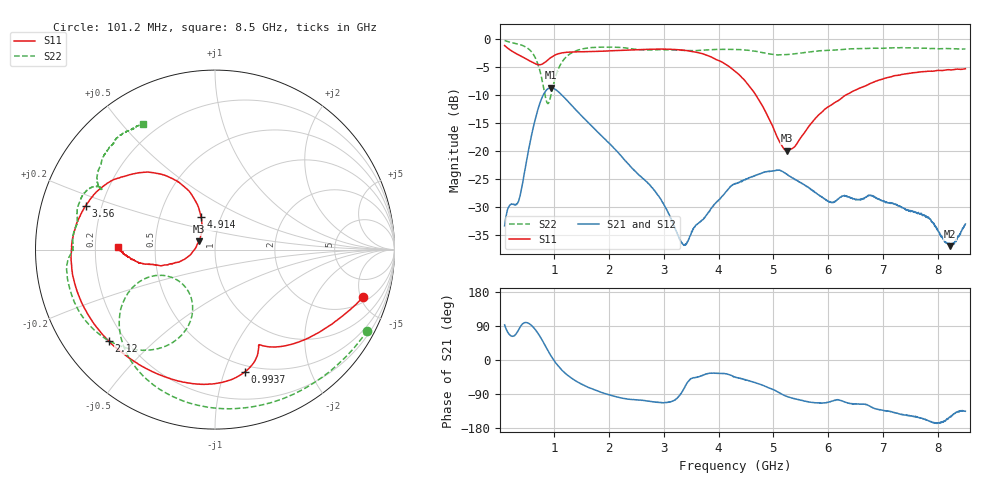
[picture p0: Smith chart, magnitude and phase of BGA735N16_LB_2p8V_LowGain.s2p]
! S-Parameter file
! MATLAB S2P writer
! (c) DICE Linz
! Infineon Technologies
! Date: 09.09.2009 10:39
!BGA735N16
!2.80V; 0.00V;
!25.00 deg
# MHZ S MA R 50
!  S11  S21  S12  S22
!  f  mag  angle  mag  angle  mag  angle  mag  angle
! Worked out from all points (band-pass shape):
!   1582 points, 101.2 MHz to 8.5 GHz, reference 50 ohm
!   highest |S21| = -8.76 dB at 945.9 MHz (marker M1); lowest = -37.0 dB at 8.213 GHz (marker M2)
!   |S21| within 3 dB of the highest: 735.8 MHz to 1.311 GHz (575 MHz wide, 56.2 % of centre)
!   lowest |S11| = -20.0 dB at 5.254 GHz (marker M3), VSWR 1.22, Z = 41.7 + j3.94 ohm
!   |S11| at or under -10 dB: 4.676 GHz to 6.331 GHz (1.655 GHz wide, 30.1 % of centre)
!   |S22| runs from -11.6 to -0.3 dB; largest |S21 - S12| = 0.0026
!   S11 on the Smith chart (normalised r, x): 101.2 MHz: 2.46, -5.23; 993.7 MHz: 0.44, -1.17; 2.12 GHz: 0.14, -0.37; 3.56 GHz: 0.14, +0.16; 4.914 GHz: 0.81, +0.30; 8.5 GHz: 0.30, +0.01
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101.2339  0.866 -17.9  0.02151 92.7  0.02151 91.8  0.961 -28.0
345.6003  0.7194 -42.7  0.03478 77.3  0.03481 77.0  0.8929 -82.7
595.279  0.6178 -61.2  0.1403 90.7  0.1411 90.6  0.7579 -130.6
690.9006  0.5881 -64.6  0.2186 74.3  0.2196 74.2  0.6238 -147.5
791.8346  0.5937 -65.8  0.3045 50.9  0.3054 50.7  0.4092 -157.5
876.8316  0.6358 -68.3  0.3528 28.5  0.3536 28.6  0.2673 -139.1
945.8916  0.6776 -72.6  0.3647 11.1  0.3658 11.3  0.3128 -114.3
993.7024  0.7021 -76.4  0.3599 0.3  0.3605 0.4  0.3947 -109.1
1195.57  0.7503 -92.7  0.2966 -33.6  0.2971 -33.7  0.6628 -122.6
1503.684  0.7622 -112.3  0.2049 -63.6  0.2052 -63.8  0.8045 -145.3
2119.913  0.7806 -139.1  0.1028 -96.4  0.1026 -96.7  0.8364 -170.4
2900.823  0.8051 -168.4  0.04016 -112.1  0.04023 -111.8  0.795 176.5
3347.057  0.7881 171.6  0.01478 -81.5  0.01488 -80.7  0.785 170.3
3559.549  0.7606 161.2  0.02097 -46.4  0.02116 -46.6  0.779 168.6
4303.273  0.5105 125.0  0.05116 -45.3  0.05075 -45.6  0.7982 158.8
4914.189  0.1963 113.2  0.0655 -73.5  0.06572 -73.5  0.7311 151.5
5254.177  0.1004 152.2  0.06146 -96.6  0.06172 -96.5  0.72 152.1
5700.411  0.1785 -162.3  0.04501 -112.0  0.04501 -111.8  0.7638 149.3
7102.862  0.4523 -172.2  0.03451 -134.9  0.03429 -135.5  0.8238 132.9
7820.024  0.5111 -177.5  0.02563 -160.1  0.0253 -160.6  0.8169 125.2
8213.135  0.5272 -179.2  0.01418 -151.2  0.01491 -150.4  0.812 121.5
8500  0.5388 178.7  0.02234 -135.2  0.02205 -135.0  0.8073 119.6
